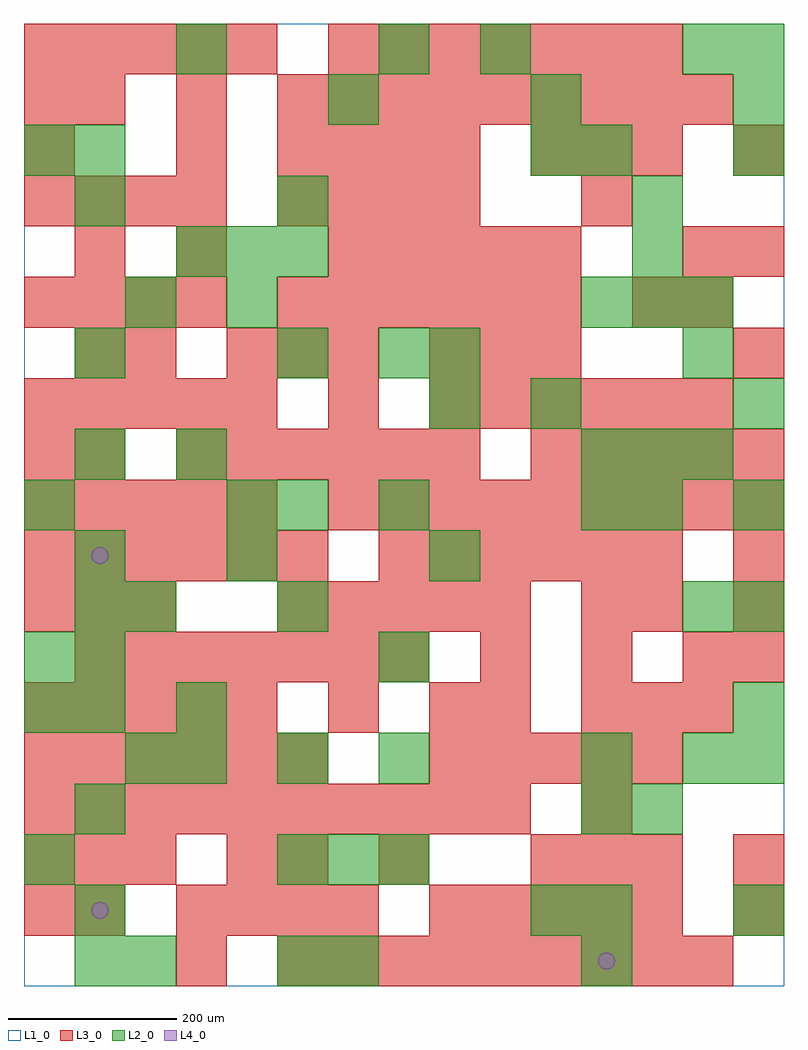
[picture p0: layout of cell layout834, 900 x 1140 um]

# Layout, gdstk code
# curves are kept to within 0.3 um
import gdstk
lib = gdstk.Library(unit=1e-6, precision=1e-09)
def R(c, l, rs):  # rectangles x0, y0, x1, y1
    for r in rs: c.add(gdstk.rectangle(r[:2], r[2:], *l))
def A(c, l, x, y, w, h, nx, ny, dx, dy):  # array of equal rectangles
    R(c, l, [(x+i*dx, y+j*dy, x+i*dx+w, y+j*dy+h) for i in range(nx) for j in range(ny)])
def P(c, l, *ps):  # polygons
    for p in ps: c.add(gdstk.Polygon(p, *l))
L1_0 = (1, 0)
L2_0 = (2, 0)
L3_0 = (3, 0)
L4_0 = (4, 0)

layout834 = lib.new_cell('layout834')
R(layout834, L1_0, [(0,0,900,1140)])
A(layout834, L2_0, 60, 60, 60, 60, 1, 3, 0, 120)
A(layout834, L2_0, 300, 120, 60, 60, 3, 1, 60, 0)
A(layout834, L2_0, 180, 240, 60, 60, 3, 1, 120, 0)
A(layout834, L2_0, 840, 300, 60, 60, 1, 4, 0, 120)
A(layout834, L2_0, 60, 360, 60, 60, 1, 3, 0, 60)
A(layout834, L2_0, 420, 360, 60, 60, 1, 3, 0, 180)
A(layout834, L2_0, 300, 540, 60, 60, 1, 3, 0, 180)
A(layout834, L2_0, 660, 600, 60, 60, 3, 2, 60, 180)
A(layout834, L2_0, 180, 840, 60, 60, 3, 1, 60, 0)
A(layout834, L2_0, 360, 1020, 60, 60, 3, 1, 240, 0)
R(layout834, L2_0, [(60,0,120,60), (120,0,180,60), (300,0,360,60), (360,0,420,60), (660,0,720,60), (600,60,660,120), (660,60,720,120), (840,60,900,120), (0,120,60,180), (660,180,720,240), (720,180,780,240), (120,240,180,300), (660,240,720,300), (780,240,840,300), (840,240,900,300), (0,300,60,360), (180,300,240,360), (0,360,60,420), (120,420,180,480), (300,420,360,480), (780,420,840,480), (240,480,300,540), (480,480,540,540), (0,540,60,600), (240,540,300,600), (660,540,720,600), (720,540,780,600), (60,600,120,660), (180,600,240,660), (480,660,540,720), (600,660,660,720), (60,720,120,780), (480,720,540,780), (780,720,840,780), (120,780,180,840), (240,780,300,840), (720,840,780,900), (60,900,120,960), (720,900,780,960), (0,960,60,1020), (60,960,120,1020), (600,960,660,1020), (660,960,720,1020), (840,960,900,1020), (180,1080,240,1140), (420,1080,480,1140), (540,1080,600,1140), (780,1080,840,1140), (840,1080,900,1140)])
A(layout834, L3_0, 300, 0, 60, 60, 9, 1, 60, 0)
A(layout834, L3_0, 180, 60, 60, 60, 4, 1, 60, 0)
A(layout834, L3_0, 480, 60, 60, 60, 5, 2, 60, 180)
A(layout834, L3_0, 0, 120, 60, 60, 3, 2, 60, 300)
A(layout834, L3_0, 600, 120, 60, 60, 3, 2, 60, 840)
A(layout834, L3_0, 0, 180, 60, 60, 10, 1, 60, 0)
A(layout834, L3_0, 0, 240, 60, 60, 6, 2, 60, 240)
A(layout834, L3_0, 0, 300, 60, 60, 5, 2, 60, 240)
A(layout834, L3_0, 660, 300, 60, 60, 3, 1, 60, 0)
A(layout834, L3_0, 60, 360, 60, 60, 7, 1, 60, 0)
A(layout834, L3_0, 540, 360, 60, 60, 3, 1, 120, 0)
A(layout834, L3_0, 840, 360, 60, 60, 1, 3, 0, 60)
A(layout834, L3_0, 300, 420, 60, 60, 5, 1, 60, 0)
A(layout834, L3_0, 420, 480, 60, 60, 6, 1, 60, 0)
A(layout834, L3_0, 360, 540, 60, 60, 9, 1, 60, 0)
A(layout834, L3_0, 60, 600, 60, 60, 1, 3, 0, 120)
A(layout834, L3_0, 180, 600, 60, 60, 6, 1, 60, 0)
A(layout834, L3_0, 600, 600, 60, 60, 5, 1, 60, 0)
A(layout834, L3_0, 0, 660, 60, 60, 5, 2, 60, 420)
A(layout834, L3_0, 480, 660, 60, 60, 6, 1, 60, 0)
A(layout834, L3_0, 240, 720, 60, 60, 3, 1, 60, 0)
A(layout834, L3_0, 480, 720, 60, 60, 3, 1, 60, 0)
A(layout834, L3_0, 840, 720, 60, 60, 1, 3, 0, 120)
A(layout834, L3_0, 0, 780, 60, 60, 4, 2, 60, 120)
A(layout834, L3_0, 300, 780, 60, 60, 6, 1, 60, 0)
A(layout834, L3_0, 360, 840, 60, 60, 5, 1, 60, 0)
A(layout834, L3_0, 300, 900, 60, 60, 4, 2, 60, 60)
A(layout834, L3_0, 60, 1020, 60, 60, 3, 1, 120, 0)
A(layout834, L3_0, 360, 1020, 60, 60, 8, 1, 60, 0)
A(layout834, L3_0, 360, 1080, 60, 60, 7, 1, 60, 0)
R(layout834, L3_0, [(180,0,240,60), (0,60,60,120), (60,60,120,120), (840,60,900,120), (240,120,300,180), (300,120,360,180), (420,120,480,180), (840,120,900,180), (660,180,720,240), (360,300,420,360), (480,300,540,360), (540,300,600,360), (660,420,720,480), (720,420,780,480), (0,600,60,660), (360,660,420,720), (120,720,180,780), (720,780,780,840), (780,780,840,840), (180,840,240,900), (780,840,840,900), (660,900,720,960), (0,960,60,1020), (180,960,240,1020), (0,1020,60,1080)])
P(layout834, L4_0, [(100,90),(99.239,93.827),(97.071,97.071),(93.827,99.239),(90,100),(86.173,99.239),(82.929,97.071),(80.761,93.827),(80,90),(80.761,86.173),(82.929,82.929),(86.173,80.761),(90,80),(93.827,80.761),(97.071,82.929),(99.239,86.173)],
  [(100,510),(99.239,513.827),(97.071,517.071),(93.827,519.239),(90,520),(86.173,519.239),(82.929,517.071),(80.761,513.827),(80,510),(80.761,506.173),(82.929,502.929),(86.173,500.761),(90,500),(93.827,500.761),(97.071,502.929),(99.239,506.173)],
  [(700,30),(699.239,33.827),(697.071,37.071),(693.827,39.239),(690,40),(686.173,39.239),(682.929,37.071),(680.761,33.827),(680,30),(680.761,26.173),(682.929,22.929),(686.173,20.761),(690,20),(693.827,20.761),(697.071,22.929),(699.239,26.173)])

lib.write_gds('layout834.gds')
